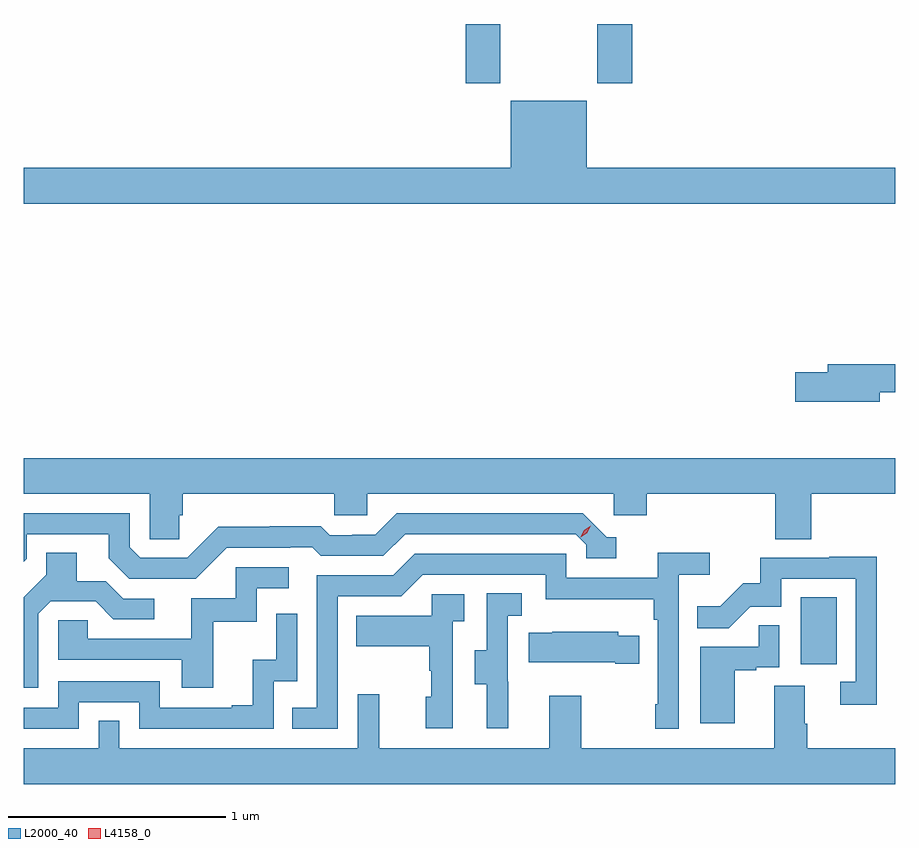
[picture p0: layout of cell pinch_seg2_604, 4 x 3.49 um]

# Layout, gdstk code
import gdstk
lib = gdstk.Library(unit=1e-6, precision=1e-09)
def R(c, l, rs):  # rectangles x0, y0, x1, y1
    for r in rs: c.add(gdstk.rectangle(r[:2], r[2:], *l))
def P(c, l, *ps):  # polygons
    for p in ps: c.add(gdstk.Polygon(p, *l))
L2000_40 = (2000, 40)
L4158_0 = (4158, 0)

pinch_seg2_604 = lib.new_cell('pinch_seg2_604')
R(pinch_seg2_604, L2000_40, [(1025.612,622.878,1025.776,623.185), (1024.073,625.545,1024.233,625.817), (1024.678,625.545,1024.838,625.817)])
P(pinch_seg2_604, L2000_40, [(1026.045,625.156),(1024.63,625.156),(1024.63,625.465),(1024.28,625.465),(1024.28,625.156),(1022.045,625.156),(1022.045,624.992),(1026.045,624.992)],
  [(1025.974,624.126),(1026.045,624.126),(1026.045,624.254),(1025.735,624.254),(1025.735,624.218),(1025.586,624.218),(1025.586,624.083),(1025.974,624.083)],
  [(1022.759,623.562),(1022.774,623.562),(1022.774,623.66),(1023.471,623.66),(1023.471,623.562),(1023.621,623.562),(1023.621,623.66),(1024.752,623.66),(1024.752,623.562),(1024.904,623.562),(1024.904,623.66),(1025.495,623.66),(1025.495,623.452),(1025.66,623.452),(1025.66,623.66),(1026.045,623.66),(1026.045,623.824),(1022.045,623.824),(1022.045,623.66),(1022.622,623.66),(1022.622,623.452),(1022.759,623.452)],
  [(1022.976,623.412),(1023.269,623.412),(1023.269,623.415),(1023.368,623.415),(1023.407,623.376),(1023.696,623.376),(1023.795,623.475),(1024.578,623.475),(1024.626,623.427),(1024.626,623.364),(1024.765,623.364),(1024.765,623.46),(1024.722,623.46),(1024.611,623.571),(1023.758,623.571),(1023.659,623.472),(1023.552,623.472),(1023.552,623.469),(1023.449,623.469),(1023.407,623.512),(1023.174,623.512),(1023.174,623.509),(1022.938,623.509),(1022.796,623.367),(1022.58,623.367),(1022.532,623.415),(1022.532,623.571),(1022.045,623.571),(1022.045,623.348),(1022.058,623.361),(1022.058,623.475),(1022.435,623.475),(1022.435,623.365),(1022.529,623.271),(1022.835,623.271)],
  [(1023.486,623.19),(1023.777,623.19),(1023.876,623.289),(1024.44,623.289),(1024.44,623.177),(1024.936,623.177),(1024.936,623.081),(1024.956,623.081),(1024.956,622.693),(1024.944,622.693),(1024.944,622.581),(1025.052,622.581),(1025.052,623.288),(1025.194,623.288),(1025.194,623.39),(1024.955,623.39),(1024.955,623.274),(1024.536,623.274),(1024.536,623.385),(1023.839,623.385),(1023.74,623.286),(1023.39,623.286),(1023.39,622.677),(1023.277,622.677),(1023.277,622.581),(1023.486,622.581)],
  [(1022.112,623.109),(1022.169,623.166),(1022.375,623.166),(1022.456,623.085),(1022.644,623.085),(1022.644,623.178),(1022.502,623.178),(1022.422,623.258),(1022.287,623.258),(1022.287,623.39),(1022.147,623.39),(1022.147,623.288),(1022.045,623.186),(1022.045,622.77),(1022.112,622.77)],
  [(1025.961,623.372),(1025.743,623.372),(1025.743,623.367),(1025.425,623.367),(1025.425,623.25),(1025.348,623.25),(1025.241,623.143),(1025.137,623.143),(1025.137,623.044),(1025.281,623.044),(1025.379,623.142),(1025.523,623.142),(1025.523,623.271),(1025.865,623.271),(1025.865,622.797),(1025.793,622.797),(1025.793,622.692),(1025.961,622.692)],
  [(1022.915,623.073),(1023.114,623.073),(1023.114,623.226),(1023.262,623.226),(1023.262,623.322),(1023.018,623.322),(1023.018,623.181),(1022.813,623.181),(1022.813,622.995),(1022.339,622.995),(1022.339,623.079),(1022.202,623.079),(1022.202,622.899),(1022.771,622.899),(1022.771,622.77),(1022.915,622.77)],
  [(1024.268,622.797),(1024.266,622.797),(1024.266,623.101),(1024.33,623.101),(1024.33,623.204),(1024.17,623.204),(1024.17,622.941),(1024.115,622.941),(1024.115,622.786),(1024.169,622.786),(1024.169,622.584),(1024.268,622.584)],
  [(1024.014,623.075),(1024.066,623.075),(1024.066,623.199),(1023.918,623.199),(1023.918,623.101),(1023.571,623.101),(1023.571,622.961),(1023.906,622.961),(1023.906,622.847),(1023.916,622.847),(1023.916,622.728),(1023.89,622.728),(1023.89,622.584),(1024.014,622.584)],
  [(1022.298,622.704),(1022.574,622.704),(1022.574,622.581),(1023.192,622.581),(1023.192,622.8),(1023.3,622.8),(1023.3,623.11),(1023.204,623.11),(1023.204,622.898),(1023.095,622.898),(1023.095,622.69),(1022.999,622.69),(1022.999,622.677),(1022.67,622.677),(1022.67,622.8),(1022.202,622.8),(1022.202,622.677),(1022.045,622.677),(1022.045,622.581),(1022.298,622.581)],
  [(1025.308,622.851),(1025.408,622.851),(1025.408,622.863),(1025.514,622.863),(1025.514,623.057),(1025.419,623.057),(1025.419,622.959),(1025.15,622.959),(1025.15,622.608),(1025.308,622.608)],
  [(1024.871,623.008),(1024.773,623.008),(1024.773,623.026),(1024.471,623.026),(1024.471,623.023),(1024.363,623.023),(1024.363,622.886),(1024.76,622.886),(1024.76,622.879),(1024.871,622.879)],
  [(1026.045,622.492),(1025.642,622.492),(1025.642,622.604),(1025.629,622.604),(1025.629,622.778),(1025.489,622.778),(1025.489,622.492),(1024.605,622.492),(1024.605,622.732),(1024.457,622.732),(1024.457,622.492),(1023.677,622.492),(1023.677,622.741),(1023.579,622.741),(1023.579,622.492),(1022.484,622.492),(1022.484,622.619),(1022.388,622.619),(1022.388,622.492),(1022.045,622.492),(1022.045,622.328),(1026.045,622.328)])
P(pinch_seg2_604, L4158_0, [(1024.602,623.461),(1024.602,623.462),(1024.617,623.494),(1024.648,623.514),(1024.648,623.514),(1024.648,623.514),(1024.632,623.481),(1024.602,623.461)])

lib.write_gds('pinch_seg2_604.gds')
